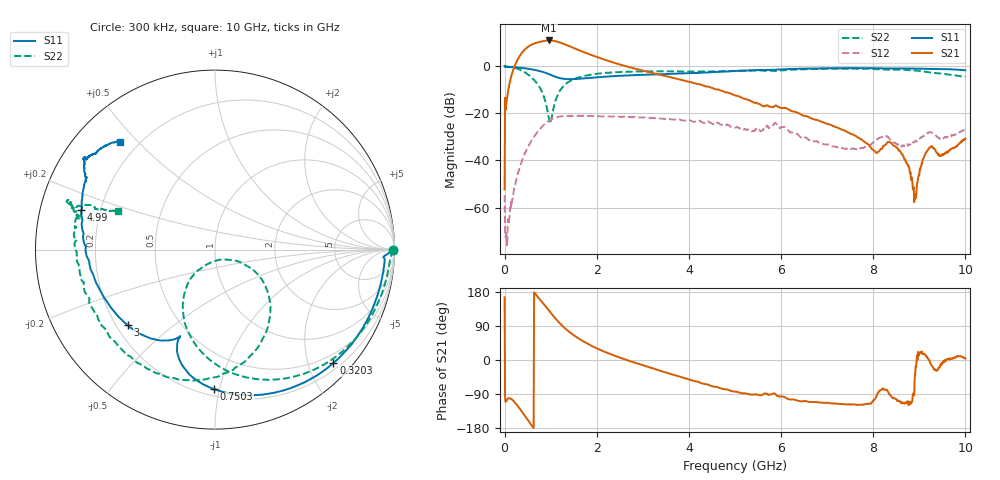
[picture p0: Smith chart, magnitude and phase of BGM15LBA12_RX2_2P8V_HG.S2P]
!Agilent Technologies,E5071C,MY46316587,B.13.01
!Date: Thu Dec 07 14:02:32 2017
!Data & Calibration Information:
!Freq	S11:SOLT2(ON)	S21:SOLT2(ON)	S12:SOLT2(ON)	S22:SOLT2(ON)
!PortZ  Port1:50+j0  Port2:50+j0
!Above PortZ is port z conversion or system Z0 setting when saving the data.
!When reading, reference impedance value at option line is always used.
# Hz S dB R 50
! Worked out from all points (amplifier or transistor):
!   1001 points, 300 kHz to 10 GHz, reference 50 ohm
!   highest |S21| = 10.7 dB at 970.3 MHz (marker M1)
!   |S21| within 3 dB of that: 487.6 MHz to 1.476 GHz (988.7 MHz wide, 101 % of centre)
!   unconditionally stable (mu >= 1): start of sweep to end of sweep
!   at 1.66 GHz: K = 1.42, MAG = 9.8 dB, |S12| = -21.2 dB
!   at 5 GHz: K = 7.06, MAG = -4.7 dB, |S12| = -26.1 dB
!   at 10 GHz: K = 91.44, MAG = -24.6 dB, |S12| = -26.9 dB
!   lowest NFmin = 1.09 dB at 700 MHz
!   S11 on the Smith chart (normalised r, x): 300 kHz: open; 320.3 MHz: 0.32, -2.45; 750.3 MHz: 0.24, -0.96; 3 GHz: 0.25, -0.35; 4.99 GHz: 0.13, +0.14; 10 GHz: 0.13, +0.45
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300000  -0.06 -0.2  -52.22 165.3  -54.68 -35.5  -0.07 -0.1
6.02982e7  -0.49 -8.8  -12.59 -103.5  -73.83 74.3  -0.30 -11.5
3.202904e8  -0.78 -43.8  3.88 -126.9  -43.44 157.5  -1.55 -57.5
5.00285e8  -1.22 -65.4  7.88 -158.0  -34.52 143.7  -3.58 -86.5
6.202814e8  -1.63 -78.2  9.24 -178.1  -30.52 132.3  -5.62 -103.4
7.502775e8  -2.19 -90.4  10.07 162.1  -27.13 118.6  -8.80 -119.6
9.702709e8  -3.60 -106.6  10.69 129.4  -23.15 92.8  -23.21 -101.1
1.130266e9  -4.83 -111.6  10.25 105.9  -21.74 73.5  -13.39 -27.2
1.32026e9  -5.59 -112.0  8.95 82.6  -21.23 55.6  -7.82 -41.9
1.67025e9  -5.43 -113.0  6.15 51.8  -21.15 34.9  -4.56 -65.7
2.220233e9  -4.57 -121.1  2.23 19.2  -21.39 15.9  -2.96 -89.7
3.00021e9  -3.84 -139.1  -2.06 -14.0  -21.85 -3.3  -2.41 -113.2
3.3402e9  -3.61 -148.6  -3.64 -27.0  -22.23 -11.3  -2.37 -123.0
4.99015e9  -2.21 163.6  -12.42 -83.2  -26.09 -37.0  -2.28 -177.5
5.00015e9  -2.20 163.3  -12.49 -83.4  -26.13 -37.1  -2.26 -177.7
6.6701e9  -1.17 146.2  -22.36 -110.7  -31.99 -50.2  -1.39 161.5
8.060058e9  -1.04 144.7  -36.70 -98.3  -31.60 8.2  -1.41 162.4
8.34005e9  -1.15 145.0  -32.14 -88.5  -30.62 -17.9  -1.64 163.6
8.68004e9  -1.14 144.3  -39.67 -115.6  -33.82 2.3  -1.72 163.0
8.900033e9  -1.18 143.3  -54.66 -44.5  -32.17 14.8  -2.02 162.1
9.210024e9  -1.34 141.5  -35.02 -0.8  -28.07 7.9  -2.81 160.3
1e10  -1.93 131.4  -30.84 3.6  -26.85 9.3  -4.74 158.3
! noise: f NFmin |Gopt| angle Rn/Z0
6.5e+08  1.152  0.5228  68.52  0.2755
7e+08  1.089  0.5481  70.57  0.2411
7.5e+08  1.113  0.4984  69.69  0.2396
8e+08  1.121  0.5097  74.12  0.226
8.5e+08  1.148  0.5039  80.82  0.2073
9e+08  1.156  0.5082  80.67  0.2154
9.5e+08  1.16  0.4774  85.61  0.2313
1e+09  1.179  0.434  88.9  0.2031
